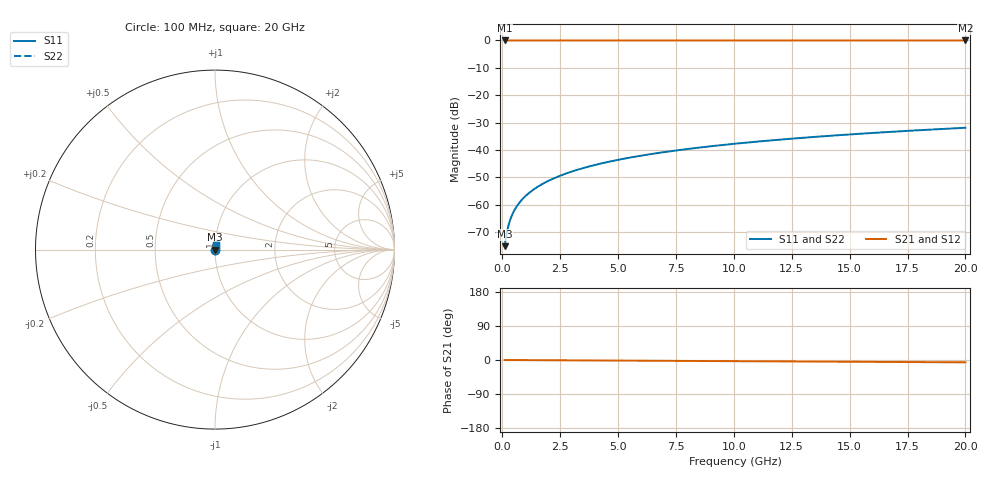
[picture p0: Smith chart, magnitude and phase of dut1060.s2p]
! Touchstone file exported from HFSS 2026.1.0
!  File:  C:/ffzhzh/LocalFiles/Ansys_Project_Files/temp_train_TSV_1060_1783189670_51560.aedt
!  Generated:  02:29:22 AM Jul  5, 2026
!  Design:  TSV
!  Project:  temp_train_TSV_1060_1783189670_51560
! Variables:
!  h_bsmrdl = 2um
!  h_ox = 20um
!  h_rdl = 5um
!  h_sub = 52.58um
!  h_tmrdl = 5um
!  h_tsv = 52.58um
!  h_via = 3um
!  l_bsmrdl = 300um
!  l_sub = 422um
!  l_tmrdl = 200um
!  m_sub = 200um
!  pitch = 57.03um
!  r_tsv = 11um
!  s_tmrdl = 10um
!  w_bsmrdl = 18um
!  w_sub = 500um
!  w_tmrdl = 12um
!  x_tsv_center1 = 206um
!  x_tsv_center2 = 524um
!  x_tsv_center3 = 736um
!  x_tsv_center4 = 1054um
!  x_tsv_center5 = 1266um
!  x_tsv_center6 = 1584um
# GHz S MA R 50.000000
! Terminal data exported
! Port[1] = TSV1_1_T1
! Port[2] = TSV1_1_T2
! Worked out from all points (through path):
!   200 points, 100 MHz to 20 GHz, reference 50 ohm
!   highest |S21| = 0.00 dB at 100 MHz (marker M1); lowest = 0.0 dB at 20 GHz (marker M2)
!   lowest |S11| = -75.1 dB at 100 MHz (marker M3), VSWR 1.00, Z = 50 + j0.0156 ohm
!   |S11| at or under -10 dB: start of sweep to end of sweep
!   |S22| runs from -75.1 to -31.9 dB; largest |S21 - S12| = 3.5e-15
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0.1  0.0001756 62.6  0.9999 -0.0  0.9999 -0.0  0.0001756 62.6
! Gamma 0 0 0 0
! Port Impedance 50 0 50 0
0.2  0.0003226 74.0  0.9999 -0.1  0.9999 -0.1  0.0003226 74.0
0.3  0.0004719 77.6  0.9999 -0.1  0.9999 -0.1  0.0004719 77.6
0.4  0.0006189 79.2  0.9999 -0.1  0.9999 -0.1  0.0006189 79.2
0.5  0.0007625 80.0  0.9999 -0.2  0.9999 -0.2  0.0007625 80.0
0.6  0.0009028 80.5  0.9999 -0.2  0.9999 -0.2  0.0009028 80.5
0.7  0.00104 80.9  0.9998 -0.2  0.9998 -0.2  0.00104 80.9
0.9  0.001309 81.5  0.9998 -0.3  0.9998 -0.3  0.001309 81.5
1.1  0.001573 82.0  0.9998 -0.3  0.9998 -0.3  0.001573 82.0
1.3  0.001834 82.5  0.9998 -0.4  0.9998 -0.4  0.001834 82.5
1.6  0.002224 83.1  0.9997 -0.5  0.9997 -0.5  0.002224 83.1
1.9  0.002614 83.6  0.9997 -0.6  0.9997 -0.6  0.002614 83.6
2.6  0.003523 84.3  0.9997 -0.8  0.9997 -0.8  0.003523 84.3
3.5  0.004688 84.7  0.9996 -1.1  0.9996 -1.1  0.004688 84.7
4.2  0.005591 84.8  0.9996 -1.3  0.9996 -1.3  0.005591 84.8
5  0.006619 84.9  0.9996 -1.6  0.9996 -1.6  0.006619 84.9
6.8  0.008915 84.8  0.9995 -2.1  0.9995 -2.1  0.008915 84.8
8.3  0.01082 84.6  0.9994 -2.6  0.9994 -2.6  0.01082 84.6
10.1  0.01309 84.3  0.9993 -3.1  0.9993 -3.1  0.01309 84.3
13.4  0.01724 83.6  0.9992 -4.1  0.9992 -4.1  0.01724 83.6
16.7  0.02137 82.8  0.999 -5.1  0.999 -5.1  0.02137 82.8
20  0.02547 82.0  0.9988 -6.2  0.9988 -6.2  0.02547 82.0
